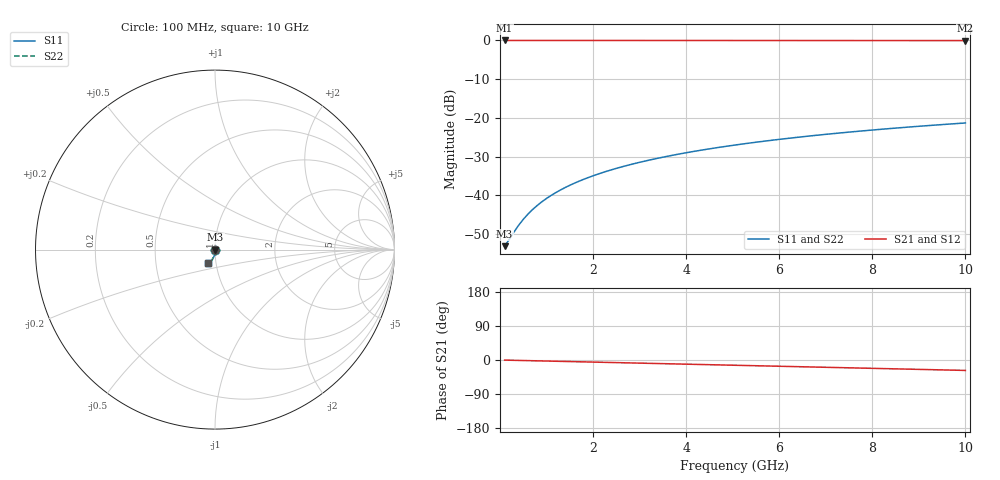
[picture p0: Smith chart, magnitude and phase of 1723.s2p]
# Hz S RI R 50.00
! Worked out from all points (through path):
!   100 points, 100 MHz to 10 GHz, reference 50 ohm
!   highest |S21| = -0.02 dB at 100 MHz (marker M1); lowest = -0.1 dB at 10 GHz (marker M2)
!   group delay of S21, straight-line fit = 7.64 ps
!   lowest |S11| = -53.1 dB at 100 MHz (marker M3), VSWR 1.00, Z = 50.2 - j0.0905 ohm
!   |S11| at or under -10 dB: start of sweep to end of sweep
!   |S22| runs from -53.1 to -21.3 dB; largest |S21 - S12| = 0
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1e8  0.00203 -0.000901  0.998 -0.00479  0.998 -0.00479  0.00203 -0.000901
3e8  0.00201 -0.0027  0.9978 -0.0144  0.9978 -0.0144  0.00201 -0.0027
4e8  0.00199 -0.0036  0.9977 -0.0192  0.9977 -0.0192  0.00199 -0.0036
5e8  0.00195 -0.0045  0.9976 -0.0239  0.9976 -0.0239  0.00195 -0.0045
6e8  0.00191 -0.0054  0.9975 -0.0287  0.9975 -0.0287  0.00191 -0.0054
7e8  0.00186 -0.0063  0.9973 -0.0335  0.9973 -0.0335  0.00186 -0.0063
8e8  0.00179 -0.0072  0.9971 -0.0383  0.9971 -0.0383  0.00179 -0.0072
1e9  0.00164 -0.009  0.9967 -0.0479  0.9967 -0.0479  0.00164 -0.009
1.2e9  0.00146 -0.0108  0.9961 -0.0574  0.9961 -0.0574  0.00146 -0.0108
1.5e9  0.00111 -0.0135  0.9952 -0.0718  0.9952 -0.0718  0.00111 -0.0135
1.8e9  0.00069 -0.0161  0.994 -0.0861  0.994 -0.0861  0.00069 -0.0161
2.1e9  0.00019 -0.0188  0.9926 -0.1004  0.9926 -0.1004  0.00019 -0.0188
2.5e9  -0.000595 -0.0223  0.9904 -0.1194  0.9904 -0.1194  -0.000595 -0.0223
2.9e9  -0.00152 -0.0258  0.9878 -0.1384  0.9878 -0.1384  -0.00152 -0.0258
3.4e9  -0.00285 -0.0301  0.984 -0.162  0.984 -0.162  -0.00285 -0.0301
4.2e9  -0.00542 -0.0369  0.9768 -0.1996  0.9768 -0.1996  -0.00542 -0.0369
5.1e9  -0.00892 -0.0442  0.9669 -0.2415  0.9669 -0.2415  -0.00892 -0.0442
5.9e9  -0.0125 -0.0505  0.9565 -0.2784  0.9565 -0.2784  -0.0125 -0.0505
6.7e9  -0.0166 -0.0565  0.9447 -0.3148  0.9447 -0.3148  -0.0166 -0.0565
7.5e9  -0.0212 -0.0621  0.9315 -0.3507  0.9315 -0.3507  -0.0212 -0.0621
8.4e9  -0.0268 -0.068  0.915 -0.3904  0.915 -0.3904  -0.0268 -0.068
1e10  -0.0379 -0.0773  0.8813 -0.4589  0.8813 -0.4589  -0.0379 -0.0773
